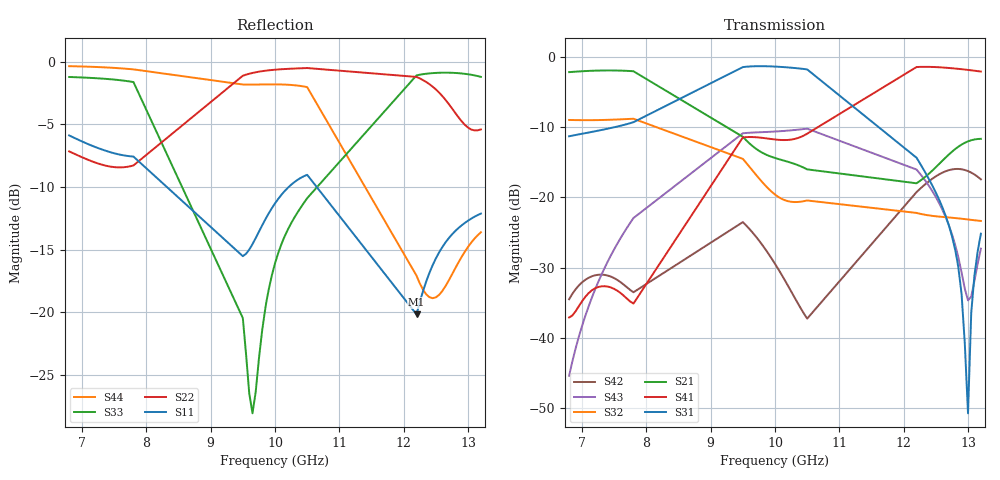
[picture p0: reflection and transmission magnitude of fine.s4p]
! yapnr rf: filterbank3-x7x10x13, footprint re-simulated (refine 2)
! spec sha256 13de688406c8ea8aa5a2983c7d9dfbef6bc7c31cd2b218bfb1531cd97a05cd76
! 4 ports renormalized to 50 ohm, e^(+jwt) convention
# GHz S RI R 50
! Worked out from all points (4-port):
!   69 points, 6.8 GHz to 13.2 GHz, reference 50 ohm
!   strongest paths, dB at 6.8 GHz, 7.55 GHz, 10 GHz, 12.45 GHz, 13.2 GHz:
!     S31: -11.3, -9.9, -1.4, -18.4, -25.2
!     S41: -37.1, -33.3, -11.8, -1.4, -2.1
!     S21: -2.2, -1.9, -14.4, -16.1, -11.7
!     S32: -9.0, -8.9, -19.6, -22.6, -23.4
!     S43: -45.4, -26.6, -10.6, -19.2, -27.3
!     S42: -34.5, -31.8, -29.5, -17.3, -17.4
!   lowest |S11| = -20.2 dB at 12.2 GHz (marker M1), VSWR 1.22, Z = 43.8 + j6.85 ohm
!   |S11| at or under -10 dB: 8.321 GHz to 10.21 GHz (1.891 GHz wide, 20.4 % of centre); 10.65 GHz to end of sweep
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6.8  0.1672 -0.4802  0.6041 0.4925  -0.1389 0.2327  0.0161 0.00065
     0.6077 0.4887  0.4165 -0.1388  0.3615 -0.00668  0.0166 -0.0224
     -0.1437 0.2313  0.3558 -0.00811  -0.5177 -0.699  0.000151 -0.0146
     0.0139 0.000122  0.011 -0.0153  0.00375 -0.00383  -0.1019 0.9554
7.8  -0.1478 -0.3916  0.6837 -0.4026  0.0055 0.3363  0.00992 0.0159
     0.6785 -0.4071  -0.1467 -0.3568  0.1023 -0.3477  -0.0211 -0.0221
     -0.00153 0.3432  0.0972 -0.3499  -0.7764 -0.2941  -0.0822 -0.0199
     0.00974 0.0146  -0.0133 -0.0164  -0.0686 -0.0193  0.9157 0.1785
9.75  -0.209 -0.0177  -0.1931 -0.0756  0.7738 -0.3414  0.2644 -0.0557
      -0.2007 -0.0764  0.2021 0.8908  0.075 0.1099  0.0224 0.0422
      0.7865 -0.3477  0.08 0.111  0.0411 -0.0506  0.2725 -0.1257
      0.2605 -0.0584  0.0303 0.039  0.261 -0.1283  -0.7813 0.2203
12.2  -0.0603 0.0775  -0.1241 -0.0145  -0.168 0.104  -0.83 -0.2259
      -0.1244 -0.0197  0.1839 -0.8507  -0.0147 0.0506  -0.034 0.1037
      -0.1621 0.1021  -0.0358 0.0687  -0.7439 -0.4758  0.00622 0.1428
      -0.8173 -0.226  -0.0229 0.1066  0.0403 0.1526  0.1227 0.0675
12.8  0.1751 0.1176  -0.2109 0.0572  -0.0293 0.0455  -0.6729 0.5047
      -0.2117 0.0623  -0.6042 -0.1647  0.0444 0.0193  0.1557 0.0446
      -0.0259 0.0336  0.0542 0.0462  -0.8967 -0.1042  0.00409 0.0258
      -0.666 0.4905  0.1558 0.033  0.038 0.0258  0.0365 0.1451
13  0.229 0.0381  -0.2126 0.1332  0.00186 0.0118  -0.485 0.661
    -0.2089 0.1384  -0.4743 0.2713  0.0506 -0.00448  0.1504 -0.0447
    0.00223 -0.00185  0.0689 0.00996  -0.8912 0.0393  -0.0275 0.0229
    -0.4848 0.6473  0.1445 -0.0529  0.00547 0.0176  0.0437 0.1771
13.2  0.24 -0.0622  -0.1685 0.2031  0.0253 -0.036  -0.2625 0.7507
      -0.1614 0.2053  -0.1284 0.5216  0.0467 -0.0261  0.0924 -0.1011
      0.0217 -0.0507  0.0627 -0.0261  -0.8502 0.1882  -0.0554 0.0442
      -0.2661 0.7407  0.0849 -0.1042  -0.0262 0.0343  0.0652 0.1983
